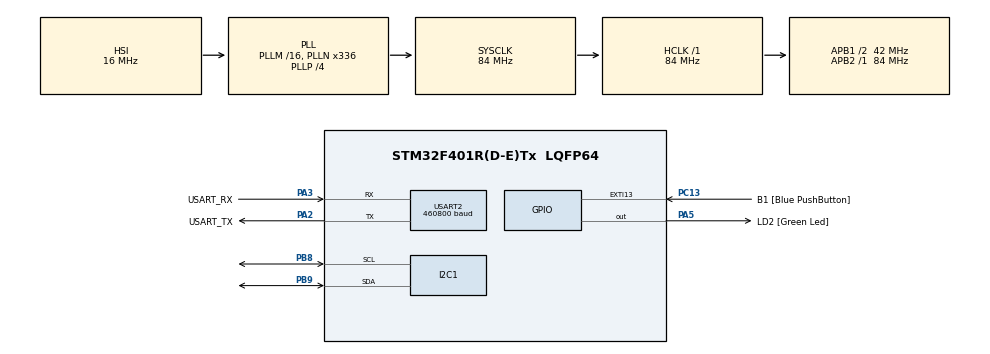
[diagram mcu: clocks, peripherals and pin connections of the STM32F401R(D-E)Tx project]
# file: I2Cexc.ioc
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Dma.Request0=USART2_TX
Dma.USART2_TX.0.Direction=DMA_MEMORY_TO_PERIPH
Dma.USART2_TX.0.FIFOMode=DMA_FIFOMODE_DISABLE
Dma.USART2_TX.0.Instance=DMA1_Stream6
Dma.USART2_TX.0.MemDataAlignment=DMA_MDATAALIGN_BYTE
Dma.USART2_TX.0.MemInc=DMA_MINC_ENABLE
Dma.USART2_TX.0.Mode=DMA_NORMAL
Dma.USART2_TX.0.PeriphDataAlignment=DMA_PDATAALIGN_BYTE
Dma.USART2_TX.0.PeriphInc=DMA_PINC_DISABLE
Dma.USART2_TX.0.Priority=DMA_PRIORITY_MEDIUM
I2C1.I2C_Mode=I2C_Fast
I2C1.NoStretchMode=I2C_NOSTRETCH_DISABLE
I2C1.OwnAddress=16
Mcu.Family=STM32F4
Mcu.Name=STM32F401R(D-E)Tx
Mcu.Package=LQFP64
NVIC.DMA1_Stream6_IRQn=true\:0\:1\:false\:false\:true
NVIC.I2C1_ER_IRQn=true\:0\:0\:false\:false\:true
NVIC.I2C1_EV_IRQn=true\:0\:0\:false\:false\:true
NVIC.PriorityGroup=NVIC_PRIORITYGROUP_0
NVIC.USART2_IRQn=true\:0\:2\:true\:false\:true
PA13.GPIO_Label=TMS
PA13.Signal=SYS_JTMS-SWDIO
PA14.GPIO_Label=TCK
PA14.Signal=SYS_JTCK-SWCLK
PA2.GPIO_Label=USART_TX
PA2.GPIO_Mode=GPIO_MODE_AF_PP
PA2.GPIO_PuPd=GPIO_NOPULL
PA2.GPIO_Speed=GPIO_SPEED_FREQ_LOW
PA2.Mode=Asynchronous
PA2.Signal=USART2_TX
PA3.GPIO_Label=USART_RX
PA3.GPIO_Mode=GPIO_MODE_AF_PP
PA3.GPIO_PuPd=GPIO_NOPULL
PA3.GPIO_Speed=GPIO_SPEED_FREQ_LOW
PA3.Mode=Asynchronous
PA3.Signal=USART2_RX
PA5.GPIO_Label=LD2 [Green Led]
PA5.GPIO_Mode=GPIO_MODE_OUTPUT_PP
PA5.GPIO_PuPd=GPIO_NOPULL
PA5.GPIO_Speed=GPIO_SPEED_FREQ_LOW
PA5.Signal=GPIO_Output
PB3.GPIO_Label=SWO
PB3.Signal=SYS_JTDO-SWO
PB8.Mode=I2C
PB8.Signal=I2C1_SCL
PB9.Mode=I2C
PB9.Signal=I2C1_SDA
PC13-ANTI_TAMP.GPIO_Label=B1 [Blue PushButton]
PC13-ANTI_TAMP.GPIO_ModeDefaultEXTI=GPIO_MODE_EVT_RISING
PC13-ANTI_TAMP.GPIO_PuPd=GPIO_NOPULL
PC13-ANTI_TAMP.Signal=GPXTI13
PC14-OSC32_IN.Signal=RCC_OSC32_IN
PC15-OSC32_OUT.Signal=RCC_OSC32_OUT
PH0\ -\ OSC_IN.Signal=RCC_OSC_IN
PH1\ -\ OSC_OUT.Signal=RCC_OSC_OUT
ProjectManager.HeapSize=0x200
ProjectManager.StackSize=0x400
ProjectManager.TargetToolchain=SW4STM32
RCC.AHBFreq_Value=84000000
RCC.APB1CLKDivider=RCC_HCLK_DIV2
RCC.APB1Freq_Value=42000000
RCC.APB1TimFreq_Value=84000000
RCC.APB2Freq_Value=84000000
RCC.APB2TimFreq_Value=84000000
RCC.CortexFreq_Value=84000000
RCC.HCLKFreq_Value=84000000
RCC.HSE_VALUE=8000000
RCC.HSI_VALUE=16000000
RCC.LSE_VALUE=32768
RCC.PLLN=336
RCC.PLLP=RCC_PLLP_DIV4
RCC.PLLQ=7
RCC.SYSCLKFreq_VALUE=84000000
RCC.SYSCLKSource=RCC_SYSCLKSOURCE_PLLCLK
RCC.VCOOutputFreq_Value=336000000
USART2.BaudRate=460800
USART2.WordLength=UART_WORDLENGTH_8B
board=NUCLEO-F401RE

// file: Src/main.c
/**
  ******************************************************************************
  * File Name          : main.c
  * Description        : Main program body
  ******************************************************************************
  *
  * COPYRIGHT(c) 2017 STMicroelectronics
  *
  * Redistribution and use in source and binary forms, with or without modification,
  * are permitted provided that the following conditions are met:
  *   1. Redistributions of source code must retain the above copyright notice,
  *      this list of conditions and the following disclaimer.
  *   2. Redistributions in binary form must reproduce the above copyright notice,
  *      this list of conditions and the following disclaimer in the documentation
  *      and/or other materials provided with the distribution.
  *   3. Neither the name of STMicroelectronics nor the names of its contributors
  *      may be used to endorse or promote products derived from this software
  *      without specific prior written permission.
  *
  * THIS SOFTWARE IS PROVIDED BY THE COPYRIGHT HOLDERS AND CONTRIBUTORS "AS IS"
  * AND ANY EXPRESS OR IMPLIED WARRANTIES, INCLUDING, BUT NOT LIMITED TO, THE
  * IMPLIED WARRANTIES OF MERCHANTABILITY AND FITNESS FOR A PARTICULAR PURPOSE ARE
  * DISCLAIMED. IN NO EVENT SHALL THE COPYRIGHT HOLDER OR CONTRIBUTORS BE LIABLE
  * FOR ANY DIRECT, INDIRECT, INCIDENTAL, SPECIAL, EXEMPLARY, OR CONSEQUENTIAL
  * DAMAGES (INCLUDING, BUT NOT LIMITED TO, PROCUREMENT OF SUBSTITUTE GOODS OR
  * SERVICES; LOSS OF USE, DATA, OR PROFITS; OR BUSINESS INTERRUPTION) HOWEVER
  * CAUSED AND ON ANY THEORY OF LIABILITY, WHETHER IN CONTRACT, STRICT LIABILITY,
  * OR TORT (INCLUDING NEGLIGENCE OR OTHERWISE) ARISING IN ANY WAY OUT OF THE USE
  * OF THIS SOFTWARE, EVEN IF ADVISED OF THE POSSIBILITY OF SUCH DAMAGE.
  *
  ******************************************************************************
  */
#include "main.h"
#include "stm32f4xx_hal.h"
#include "dma.h"
#include "i2c.h"
#include "usart.h"
#include "gpio.h"

/* USER CODE BEGIN PV */
/* Private variables ---------------------------------------------------------*/

/* USER CODE END PV */

void SystemClock_Config(void);
void Error_Handler(void);

/* USER CODE BEGIN PFP */
/* Private function prototypes -----------------------------------------------*/

/* USER CODE END PFP */

/* USER CODE BEGIN 0 */
uint8_t slave_addr=0x20;
uint8_t wr_buffer[256]={0x01, 0x2, 0x3, 0x4, 0x5, 6, 7,8,
		9,10,11,12,13,14,15,
		16,17,18,19,20,21,22,23,
		24,25,26,27,28,29,30,31};
uint8_t rd_buffer[256]={0x11, 0x22, 0x33, 0x44, 0x55};
char pr_buffer[256];
int acc_delay=2; /* ms wait in between acces to leave slave tiem to do debug print */

#ifdef MASTER
void wr_test() {
	int status;
	int i;
//shall nack on 2nd byte
	uart_printf("== mostly  bad wr ==\n ");
#if 0
	status = HAL_I2C_Mem_Write(&hi2c1, slave_addr, 31, 1, wr_buffer, 2, 10000);
	uart_printf("mem wr extra 1 bytes rc %d\n", status);
	HAL_Delay(acc_delay);

	status = HAL_I2C_Mem_Write(&hi2c1, slave_addr, 31, 1, wr_buffer, 3, 10000);
	uart_printf("mem wr extra 2 bytes rc %d\n", status);
	HAL_Delay(acc_delay);
#endif
	status = HAL_I2C_Mem_Write(&hi2c1, slave_addr, 31, 1, wr_buffer, 5, 10000);
	uart_printf("mem wr extra 4 bytes rc %d\n", status);
	HAL_Delay(acc_delay);
	status = HAL_I2C_Mem_Write(&hi2c1, slave_addr, 31, 1, wr_buffer, 5, 10000);
	uart_printf("mem wr extra 4 bytes rc %d\n", status);
	HAL_Delay(acc_delay);
	for (i = 1; i < 32; i++) {
		uart_printf("mem wr  @31 %d bytes + %d bad ", i, i-1);
		status = HAL_I2C_Mem_Write(&hi2c1, slave_addr, 31, 1, wr_buffer, i,	10000);
		uart_printf("status=%d\n", status);
		HAL_Delay(acc_delay);
	}

	// this shall be check on analyzer of device how mnay byte got trashed
	// what is expected is that slave nack real soon at best first bad index
	// master must brake as soon as eeing a nack and report a failure (one data ok)
	uart_printf("== mostly good  ==\n ");
	//many goof btu last bad  bad
	for (i = 1; i < 32; i++) {
		uart_printf("mem wr @d %d bytes ( 1 bad) ", 32-i, i);
		status = HAL_I2C_Mem_Write(&hi2c1, slave_addr, 32-i, 1, wr_buffer, i,10000);
		uart_printf("status=%d\n", status);
		HAL_Delay(acc_delay);
	}

	for (i = 1; i < 31; i++) {
		int n=(i%7)+1;
		uart_printf("to mem wr @%d %d bytes ", i, n);
		status = HAL_I2C_Mem_Write(&hi2c1, slave_addr, i, 1, wr_buffer, n,
				10000);
		uart_printf("status=%d\n", status);
		HAL_Delay(acc_delay);
	}
	uart_printf("==repeat bad access==\n");
	for (i = 1; i < 6; i++) {
		int n=i%5;
		uart_printf("to mem wr @%d %d bytes ", i, n);
		status = HAL_I2C_Mem_Write(&hi2c1, slave_addr, 33, 1, wr_buffer, n,	10000);
		uart_printf("status=%d\n", status);
		HAL_Delay(acc_delay);
		uart_printf("to mem wr @%d %d bytes ", i, n);
		status = HAL_I2C_Mem_Write(&hi2c1, slave_addr, 33, 1, wr_buffer, n,	10000);
		uart_printf("status=%d\n", status);
		HAL_Delay(acc_delay);
	}
}

void rd_test(){
	int rc;
	int idx,i;
	char *p;
	int test;

	test=0xFFFFFFF;

	if( test&1 ){
		uart_printf("==== rd  good addr ===\n");
		for( idx= 0; idx<32-4; idx++){
			int n = idx%7+1;
			rc = HAL_I2C_Mem_Read(&hi2c1, slave_addr, idx, 1, rd_buffer,n, 10000);
				for(i=0, p=pr_buffer; i<n; i++, p+=3)
					sprintf(p,"%02X ",rd_buffer[i] );
				*p=0;
				uart_printf("mem rd @%d %db status %d data=%s\n", idx, n ,rc,pr_buffer);
				HAL_Delay(acc_delay);
		}
	}
	if( test&2){
		uart_printf("==== wr to invalid addr ===\n");
		for (idx = 2; idx < 5; idx++) {
			rc = HAL_I2C_Mem_Read(&hi2c1, slave_addr, 31, 1, rd_buffer, idx, 10000);
			for (i = 0, p = pr_buffer; i < idx; i++, p += 3)
				sprintf(p, "%02X ", rd_buffer[i]);
			*p = 0;
			uart_printf("mem rd with ext %d status %d data=%s\n", idx - 1, rc, pr_buffer);
			HAL_Delay(acc_delay);
		}
	}
	if ( test&4){
		uart_printf("==== rand wr  + rd ===\n");
		for (idx = 32; idx < 64; idx += 3) {
			int n = idx % 4 + 1;
			rc = HAL_I2C_Mem_Write(&hi2c1, slave_addr, idx, 1, wr_buffer, n, 10000);
			uart_printf("wr @%d %d rc %d\n", idx, n, rc);
			HAL_Delay(acc_delay);
			rc = HAL_I2C_Mem_Read(&hi2c1, slave_addr, idx, 1, rd_buffer, n, 10000);
			for (i = 0, p = pr_buffer; i < n; i++, p += 3)
				sprintf(p, "%02X ", rd_buffer[i]);
			*p = 0;
			uart_printf("rd @%d %db rc=%d data=%s\n", idx, n, rc, pr_buffer);
			HAL_Delay(acc_delay);
		}
	}
	//mix bad and good write see if any is missed
	if ( test&8){
		uart_printf("==== rand wr  + rd ===\n");
		for (idx = 32; idx < 64; idx += 3) {
			int n = idx % 4 + 1;
			int idx2=idx%32;
			rc = HAL_I2C_Mem_Write(&hi2c1, slave_addr, idx, 1, wr_buffer, n, 10000);
			uart_printf("wr @%d %d rc %d\n", idx, n, rc);
			HAL_Delay(acc_delay);
			rc = HAL_I2C_Mem_Write(&hi2c1, slave_addr, idx2, 1, wr_buffer, n, 10000);
			uart_printf("wr @%d %d rc %d\n", idx2, n, rc);
			rc = HAL_I2C_Mem_Write(&hi2c1, slave_addr, idx2, 1, wr_buffer, n, 10000);
			uart_printf("wr @%d %d rc %d\n", idx2, n, rc);
			HAL_Delay(acc_delay);

		}
	}

}
#endif
/* USER CODE END 0 */

int main(void)
{

  /* USER CODE BEGIN 1 */
	int i;
#ifdef MASTER
	int do_wr_test=1;
	int do_rd_test=1;
#endif
  /* USER CODE END 1 */

  /* MCU Configuration----------------------------------------------------------*/

  /* Reset of all peripherals, Initializes the Flash interface and the Systick. */
  HAL_Init();

  /* Configure the system clock */
  SystemClock_Config();

  /* Initialize all configured peripherals */
  MX_GPIO_Init();
  MX_DMA_Init();
  MX_I2C1_Init();
  MX_USART2_UART_Init();

  /* Infinite loop */
  /* USER CODE BEGIN WHILE */
  while (1)
  {

#ifdef MASTER
	  if( do_wr_test )
		  wr_test();
	  if( do_rd_test )
		  rd_test();
#else
	  int status = i1c_start();
	  if( status ) {
		  uart_printf("fail to tsart slave %d\n",status);
	  }
	  while( 1){
		  __WFI();
		  // do some  print
		  if( i2c_new_data ){
			  uart_printf("%d i2c %c idx=%d %d data", i2c_new_data,
					  i2c_access.rd_wr ? 'r':'w' , i2c_access.index, i2c_access.n_data );
			  if( i2c_access.rd_wr == 0 ){
				  extern uint8_t i2c_buffer[32];
				  char *p;
				  for( i=0, p=pr_buffer; i < i2c_access.n_data;  i++){
					  sprintf( p,  "%02x ", i2c_buffer[i]);
					  p+=3;
				  }
				  *p=0;
				  uart_printf(" data=%s\n",pr_buffer);
			  }else{
				  uart_printf("\n",pr_buffer);
			  }
			  _CriticalEnter();
			  i2c_new_data=0;
			  _CriticalExit();
		  }
	  }
#endif
  /* USER CODE END WHILE */

  }

}

/** System Clock Configuration
*/
void SystemClock_Config(void)
{

  RCC_OscInitTypeDef RCC_OscInitStruct;
  RCC_ClkInitTypeDef RCC_ClkInitStruct;

    /**Configure the main internal regulator output voltage
    */
  __HAL_RCC_PWR_CLK_ENABLE();

  __HAL_PWR_VOLTAGESCALING_CONFIG(PWR_REGULATOR_VOLTAGE_SCALE2);

    /**Initializes the CPU, AHB and APB busses clocks
    */
  RCC_OscInitStruct.OscillatorType = RCC_OSCILLATORTYPE_HSI;
  RCC_OscInitStruct.HSIState = RCC_HSI_ON;
  RCC_OscInitStruct.HSICalibrationValue = 16;
  RCC_OscInitStruct.PLL.PLLState = RCC_PLL_ON;
  RCC_OscInitStruct.PLL.PLLSource = RCC_PLLSOURCE_HSI;
  RCC_OscInitStruct.PLL.PLLM = 16;
  RCC_OscInitStruct.PLL.PLLN = 336;
  RCC_OscInitStruct.PLL.PLLP = RCC_PLLP_DIV4;
  RCC_OscInitStruct.PLL.PLLQ = 7;
  if (HAL_RCC_OscConfig(&RCC_OscInitStruct) != HAL_OK)
  {
    Error_Handler();
  }

    /**Initializes the CPU, AHB and APB busses clocks
    */
  RCC_ClkInitStruct.ClockType = RCC_CLOCKTYPE_HCLK|RCC_CLOCKTYPE_SYSCLK
                              |RCC_CLOCKTYPE_PCLK1|RCC_CLOCKTYPE_PCLK2;
  RCC_ClkInitStruct.SYSCLKSource = RCC_SYSCLKSOURCE_PLLCLK;
  RCC_ClkInitStruct.AHBCLKDivider = RCC_SYSCLK_DIV1;
  RCC_ClkInitStruct.APB1CLKDivider = RCC_HCLK_DIV2;
  RCC_ClkInitStruct.APB2CLKDivider = RCC_HCLK_DIV1;

  if (HAL_RCC_ClockConfig(&RCC_ClkInitStruct, FLASH_LATENCY_2) != HAL_OK)
  {
    Error_Handler();
  }

    /**Configure the Systick interrupt time
    */
  HAL_SYSTICK_Config(HAL_RCC_GetHCLKFreq()/1000);

    /**Configure the Systick
    */
  HAL_SYSTICK_CLKSourceConfig(SYSTICK_CLKSOURCE_HCLK);

  /* SysTick_IRQn interrupt configuration */
  HAL_NVIC_SetPriority(SysTick_IRQn, 0, 0);
}

void Error_Handler(void)
{
  while(1)
  {
  }
}

/************************ (C) COPYRIGHT STMicroelectronics *****END OF FILE****/
